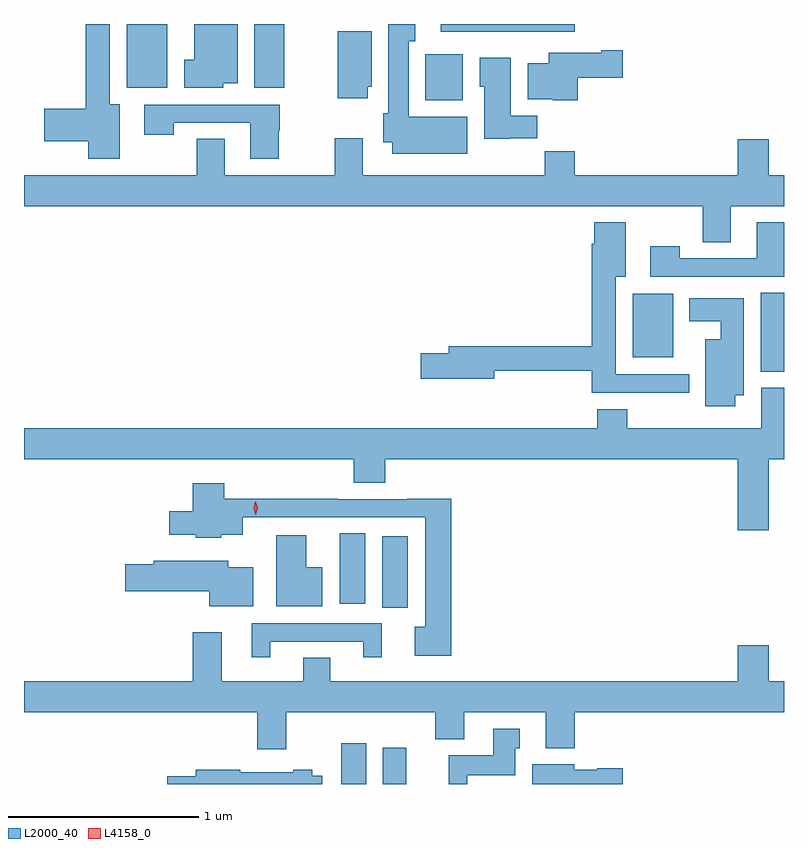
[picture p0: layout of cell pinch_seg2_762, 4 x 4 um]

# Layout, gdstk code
import gdstk
lib = gdstk.Library(unit=1e-6, precision=1e-09)
def R(c, l, rs):  # rectangles x0, y0, x1, y1
    for r in rs: c.add(gdstk.rectangle(r[:2], r[2:], *l))
def P(c, l, *ps):  # polygons
    for p in ps: c.add(gdstk.Polygon(p, *l))
L2000_40 = (2000, 40)
L4158_0 = (4158, 0)

pinch_seg2_762 = lib.new_cell('pinch_seg2_762')
R(pinch_seg2_762, L2000_40, [(654.428,640.599,654.559,640.813), (654.647,640.599,654.772,640.789), (654.644,641.526,654.778,641.902), (654.422,641.547,654.556,641.918), (656.636,642.769,656.759,643.184), (655.964,642.845,656.176,643.18), (654.872,644.198,655.069,644.44), (653.3,644.264,653.512,644.599), (653.972,644.264,654.13,644.599), (654.953,644.558,655.658,644.599), (656.516,644.598,656.68,644.599)])
P(pinch_seg2_762, L2000_40, [(655.093,644.11),(654.784,644.11),(654.784,644.507),(654.817,644.507),(654.817,644.599),(654.677,644.599),(654.677,644.13),(654.65,644.13),(654.65,643.976),(654.698,643.976),(654.698,643.916),(655.093,643.916)],
  [(653.808,644.288),(653.884,644.288),(653.884,644.599),(653.654,644.599),(653.654,644.41),(653.603,644.41),(653.603,644.264),(653.808,644.264)],
  [(653.263,644.176),(653.209,644.176),(653.209,644.599),(653.084,644.599),(653.084,644.153),(652.866,644.153),(652.866,643.982),(653.096,643.982),(653.096,643.89),(653.263,643.89)],
  [(654.568,644.268),(654.589,644.268),(654.589,644.56),(654.41,644.56),(654.41,644.208),(654.568,644.208)],
  [(655.673,644.315),(655.909,644.315),(655.909,644.462),(655.796,644.462),(655.796,644.449),(655.52,644.449),(655.52,644.392),(655.409,644.392),(655.409,644.204),(655.542,644.204),(655.542,644.198),(655.673,644.198)],
  [(655.317,643.998),(655.46,643.998),(655.46,644.116),(655.321,644.116),(655.321,644.422),(655.157,644.422),(655.157,644.268),(655.181,644.268),(655.181,643.994),(655.317,643.994)],
  [(654.099,644.037),(654.104,644.037),(654.104,644.175),(653.391,644.175),(653.391,644.016),(653.547,644.016),(653.547,644.079),(653.951,644.079),(653.951,643.89),(654.099,643.89)],
  [(656.479,643.64),(656.759,643.64),(656.759,643.804),(656.68,643.804),(656.68,643.993),(656.516,643.993),(656.516,643.804),(655.658,643.804),(655.658,643.928),(655.501,643.928),(655.501,643.804),(654.541,643.804),(654.541,643.999),(654.394,643.999),(654.394,643.804),(653.815,643.804),(653.815,643.994),(653.668,643.994),(653.668,643.804),(652.759,643.804),(652.759,643.64),(656.332,643.64),(656.332,643.45),(656.479,643.45)],
  [(656.26,642.756),(655.873,642.756),(655.873,643.268),(655.927,643.268),(655.927,643.555),(655.76,643.555),(655.76,643.442),(655.748,643.442),(655.748,642.902),(654.995,642.902),(654.995,642.866),(654.846,642.866),(654.846,642.731),(655.234,642.731),(655.234,642.774),(655.748,642.774),(655.748,642.659),(656.26,642.659)],
  [(656.759,643.555),(656.615,643.555),(656.615,643.365),(656.211,643.365),(656.211,643.429),(656.055,643.429),(656.055,643.269),(656.759,643.269)],
  [(656.503,642.644),(656.548,642.644),(656.548,643.156),(656.261,643.156),(656.261,643.034),(656.426,643.034),(656.426,642.94),(656.345,642.94),(656.345,642.588),(656.503,642.588)],
  [(656.68,642.308),(656.759,642.308),(656.759,642.684),(656.639,642.684),(656.639,642.472),(655.935,642.472),(655.935,642.571),(655.775,642.571),(655.775,642.472),(652.759,642.472),(652.759,642.308),(654.494,642.308),(654.494,642.184),(654.659,642.184),(654.659,642.308),(656.516,642.308),(656.516,641.934),(656.68,641.934)],
  [(655.007,642.101),(654.776,642.101),(654.776,642.099),(654.41,642.099),(654.41,642.101),(653.813,642.101),(653.813,642.181),(653.648,642.181),(653.648,642.034),(653.523,642.034),(653.523,641.912),(653.664,641.912),(653.664,641.894),(653.796,641.894),(653.796,641.912),(653.911,641.912),(653.911,642.003),(654.872,642.003),(654.872,641.426),(654.816,641.426),(654.816,641.273),(655.007,641.273)],
  [(654.328,641.74),(654.244,641.74),(654.244,641.908),(654.086,641.908),(654.086,641.534),(654.328,641.534)],
  [(653.965,641.74),(653.833,641.74),(653.833,641.773),(653.441,641.773),(653.441,641.756),(653.292,641.756),(653.292,641.614),(653.735,641.614),(653.735,641.534),(653.965,641.534)],
  [(654.055,641.349),(654.545,641.349),(654.545,641.265),(654.643,641.265),(654.643,641.445),(653.957,641.445),(653.957,641.265),(654.055,641.265)],
  [(656.516,641.329),(656.516,641.14),(654.37,641.14),(654.37,641.264),(654.23,641.264),(654.23,641.14),(653.8,641.14),(653.8,641.398),(653.648,641.398),(653.648,641.14),(652.759,641.14),(652.759,640.976),(653.987,640.976),(653.987,640.782),(654.139,640.782),(654.139,640.976),(654.923,640.976),(654.923,640.835),(655.075,640.835),(655.075,640.976),(655.505,640.976),(655.505,640.787),(655.658,640.787),(655.658,640.976),(656.759,640.976),(656.759,641.14),(656.68,641.14),(656.68,641.329)],
  [(655.092,640.646),(655.345,640.646),(655.345,640.788),(655.369,640.788),(655.369,640.891),(655.229,640.891),(655.229,640.75),(654.994,640.75),(654.994,640.599),(655.092,640.599)],
  [(655.909,640.683),(655.776,640.683),(655.776,640.675),(655.656,640.675),(655.656,640.702),(655.433,640.702),(655.433,640.599),(655.909,640.599)],
  [(654.328,640.642),(654.276,640.642),(654.276,640.675),(654.176,640.675),(654.176,640.662),(653.898,640.662),(653.898,640.675),(653.663,640.675),(653.663,640.641),(653.514,640.641),(653.514,640.599),(654.328,640.599)])
P(pinch_seg2_762, L4158_0, [(653.979,642.016),(653.979,642.016),(653.968,642.051),(653.976,642.087),(653.976,642.088),(653.977,642.087),(653.988,642.052),(653.98,642.016)])

lib.write_gds('pinch_seg2_762.gds')
